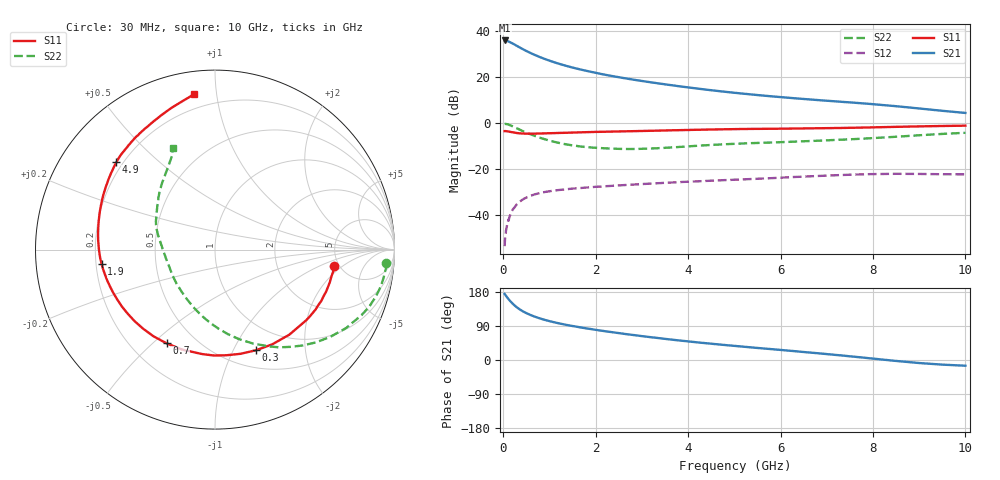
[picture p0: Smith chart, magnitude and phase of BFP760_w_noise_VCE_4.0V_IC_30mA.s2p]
! Infineon Technologies  Discrete & RF Semiconductors
! BFP760
! VCE =  4.0 V,  IC =  30 mA
! Common Emitter S-Parameters:  Nov 2012
# GHz  S  MA  R  50
!  f  S11  S21  S12  S22
! GHz  MAG  ANG  MAG  ANG  MAG  ANG  MAG  ANG
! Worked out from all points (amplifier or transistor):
!   99 points, 30 MHz to 10 GHz, reference 50 ohm
!   highest |S21| = 35.9 dB at 30 MHz (marker M1)
!   |S21| within 3 dB of that: start of sweep to 352.4 MHz
!   unconditionally stable (mu >= 1): 4.205 GHz to end of sweep
!   at 350 MHz: K = 0.30, MSG = 33.6 dB, |S12| = -34.3 dB
!   at 3.5 GHz: K = 0.93, MSG = 21.4 dB, |S12| = -26.0 dB
!   at 10 GHz: K = 1.07, MAG = 11.8 dB, |S12| = -22.3 dB
!   lowest NFmin = 0.75 dB at 900 MHz
!   S11 on the Smith chart (normalised r, x): 30 MHz: 4.52, -1.46; 300 MHz: 0.69, -1.23; 700 MHz: 0.35, -0.55; 1.9 GHz: 0.22, -0.06; 4.9 GHz: 0.17, +0.37; 10 GHz: 0.12, +0.87
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0.03  0.6675 -7.7  62.39 174.5  0.0021 77.5  0.9563 -4.6
0.07  0.663 -18.3  61.55 167.5  0.0051 70.8  0.9481 -11.5
0.15  0.6426 -37.9  57.12 155.6  0.01 70.5  0.8943 -24.1
0.2  0.6293 -48.9  53.78 149.2  0.0129 66.4  0.851 -30.9
0.25  0.6167 -58.9  50.57 143.5  0.0149 63.9  0.8058 -37.1
0.3  0.6054 -68.0  47.32 138.5  0.0174 59.7  0.7639 -42.6
0.4  0.5921 -83.9  41.62 130.3  0.021 55.0  0.6849 -52.3
0.5  0.5864 -97.0  36.85 123.7  0.0239 51.0  0.6188 -60.7
0.6  0.5862 -108.0  32.95 118.2  0.0264 47.5  0.5636 -68.1
0.7  0.5878 -117.3  29.7 113.6  0.0284 44.5  0.517 -74.9
0.9  0.5955 -132.2  24.69 105.8  0.0316 40.3  0.4429 -87.1
1.1  0.6033 -143.7  21 99.6  0.034 37.5  0.3903 -97.8
1.4  0.6158 -156.8  17.08 91.9  0.0366 34.8  0.3389 -111.7
1.7  0.6282 -167.0  14.36 85.4  0.0388 33.3  0.3061 -124.1
1.9  0.6365 -172.6  12.96 81.6  0.0401 32.5  0.2934 -131.8
2.6  0.6588 171.4  9.52 69.3  0.0446 31.0  0.273 -155.0
3.4  0.6851 157.2  7.166 57.2  0.0494 29.7  0.2854 -176.7
4.9  0.7338 138.5  4.663 38.4  0.0578 27.4  0.3493 159.3
5.1  0.7389 136.8  4.444 36.2  0.059 27.1  0.3564 157.2
6.7  0.7672 124.9  3.216 19.0  0.0698 23.4  0.4083 141.6
8.5  0.8256 107.2  2.321 -2.5  0.0786 13.2  0.5026 123.4
10  0.876 97.5  1.656 -15.1  0.0768 8.5  0.6135 112.5
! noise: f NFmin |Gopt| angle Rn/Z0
0.9  0.75  0.17  -168  0.1
1.8  0.8  0.19  -157  0.06
2.4  0.85  0.19  -148  0.08
3.5  0.96  0.2  -140  0.1
5.5  1.18  0.27  -99  0.3
8  1.48  0.39  -73  0.42
